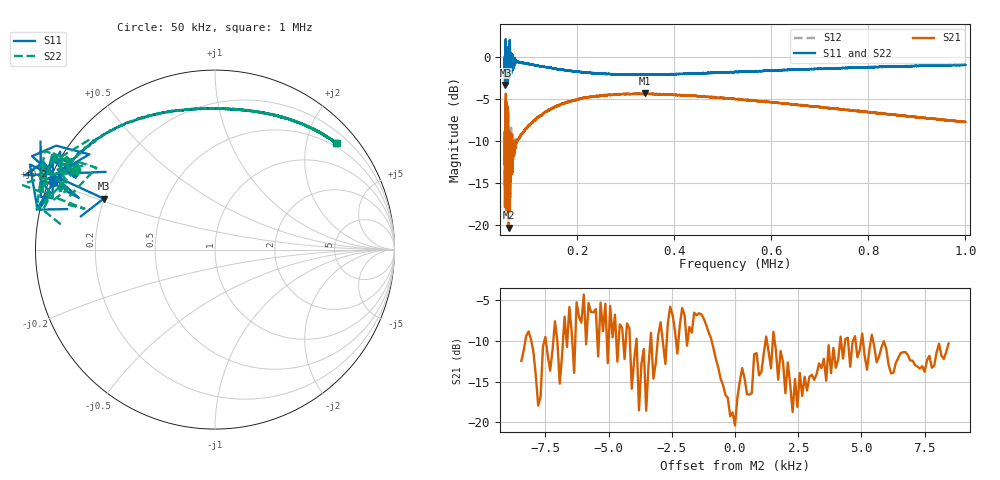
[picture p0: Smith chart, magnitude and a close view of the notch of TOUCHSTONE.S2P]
!Keysight Technologies,E5063A,MY54100949,A.07.00
!Date: Fri Oct 31 21:12:57 2025
!Data & Calibration Information:
!Freq	S11:SOLT2(ON)	S21:SOLT2(ON)	S12:SOLT2(ON)	S22:SOLT2(ON)
# Hz S dB R 50
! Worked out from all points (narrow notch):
!   10001 points, 50 kHz to 1 MHz, reference 50 ohm
!   highest |S21| = -4.33 dB at 339.6 kHz (marker M1); lowest = -20.4 dB at 58.55 kHz (marker M2)
!   notch at M2: 14.7 dB deep, 1.42 kHz wide at half that depth
!   lowest |S11| = -3.3 dB at 51.71 kHz (marker M3), VSWR 5.29, Z = 9.89 + j10.5 ohm
!   |S11| at or under -10 dB: nowhere
!   |S22| runs from -3.2 to 3.0 dB; largest |S21 - S12| = 0.32
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50000  -0.22 157.4  -12.77 88.0  -14.48 71.8  -0.99 150.3
51710  -3.33 155.4  -11.61 66.8  -10.40 70.9  -1.91 145.4
53040  -0.23 167.0  -6.14 68.0  -6.22 74.3  0.60 172.7
54845  -0.41 159.7  -12.88 53.6  -14.09 41.3  -0.12 157.5
55700  -1.12 142.8  -10.35 90.0  -13.70 91.2  -0.68 137.9
57505  -2.06 160.8  -8.96 66.0  -7.71 64.9  -2.19 158.5
58550  0.61 153.0  -20.37 70.2  -16.98 57.9  1.29 156.7
60640  -0.47 155.2  -12.68 41.5  -9.88 58.8  -1.31 145.2
62540  0.34 150.2  -13.32 66.8  -13.30 70.3  0.65 153.7
67005  -1.49 150.9  -10.35 57.2  -9.24 58.3  -1.05 148.9
75840  -0.54 148.3  -9.99 58.0  -9.94 58.1  -0.57 147.8
119255  -1.03 133.2  -7.12 43.1  -7.17 43.3  -1.02 133.2
161910  -1.45 120.9  -5.75 30.9  -5.73 31.2  -1.45 121.0
208365  -1.79 109.9  -4.93 20.4  -4.95 20.2  -1.79 110.2
268595  -2.04 98.6  -4.54 8.9  -4.50 8.9  -2.03 98.5
339560  -2.09 87.7  -4.33 -1.9  -4.37 -1.7  -2.11 87.7
366730  -2.09 84.2  -4.47 -5.1  -4.39 -5.3  -2.07 84.3
438740  -1.97 75.8  -4.62 -13.6  -4.61 -13.8  -1.97 75.9
525000  -1.78 67.9  -5.01 -21.4  -5.02 -21.6  -1.77 67.7
683365  -1.44 56.3  -5.90 -32.9  -5.86 -32.8  -1.43 56.3
841730  -1.15 47.9  -6.82 -41.3  -6.82 -41.3  -1.15 47.6
1000000  -0.92 41.1  -7.74 -47.6  -7.75 -47.8  -0.93 41.2
